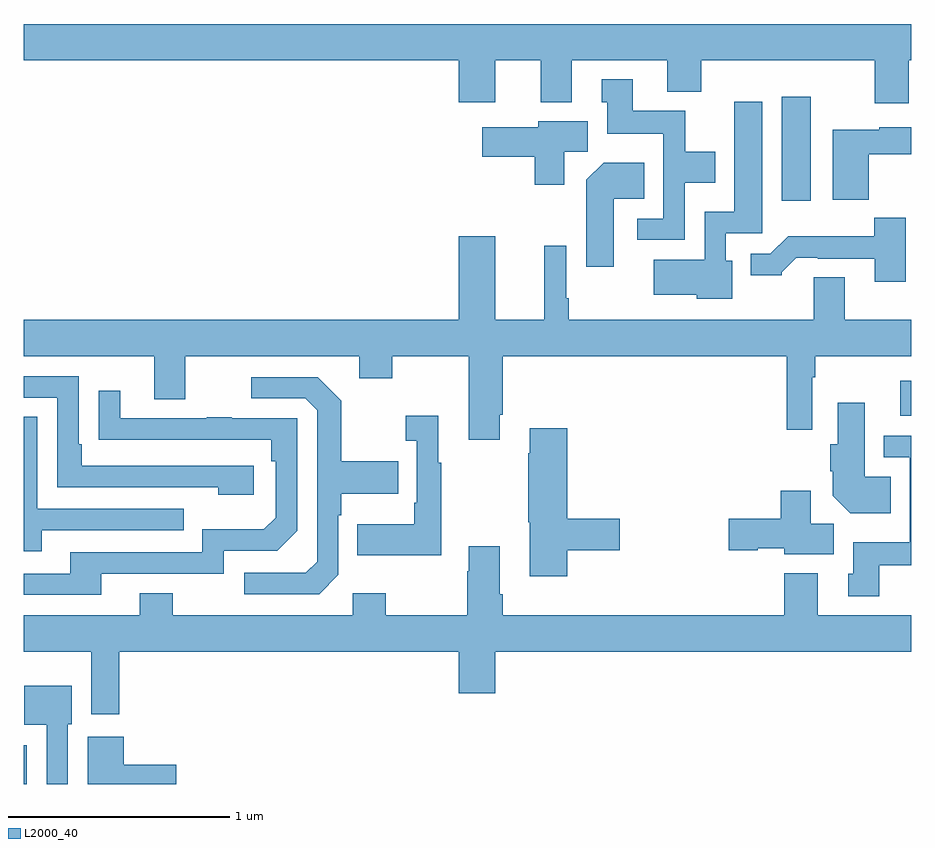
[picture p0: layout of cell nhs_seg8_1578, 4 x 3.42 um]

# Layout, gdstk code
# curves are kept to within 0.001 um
import gdstk
lib = gdstk.Library(unit=1e-6, precision=1e-09)
def R(c, l, rs):  # rectangles x0, y0, x1, y1
    for r in rs: c.add(gdstk.rectangle(r[:2], r[2:], *l))
def P(c, l, *ps):  # polygons
    for p in ps: c.add(gdstk.Polygon(p, *l))
L2000_40 = (2000, 40)

nhs_seg8_1578 = lib.new_cell('nhs_seg8_1578')
R(nhs_seg8_1578, L2000_40, [(211,1119.9,211.015,1120.075), (214.95,1121.558,215,1121.716), (214.415,1122.528,214.546,1122.997)])
P(nhs_seg8_1578, L2000_40, [(214.988,1123.16),(215,1123.16),(215,1123.324),(211,1123.324),(211,1123.16),(212.96,1123.16),(212.96,1122.972),(213.124,1122.972),(213.124,1123.16),(213.329,1123.16),(213.329,1122.971),(213.469,1122.971),(213.469,1123.16),(213.899,1123.16),(213.899,1123.019),(214.052,1123.019),(214.052,1123.16),(214.835,1123.16),(214.835,1122.966),(214.988,1122.966)],
  [(213.978,1122.608),(214.117,1122.608),(214.117,1122.748),(213.981,1122.748),(213.981,1122.934),(213.745,1122.934),(213.745,1123.075),(213.605,1123.075),(213.605,1122.972),(213.629,1122.972),(213.629,1122.83),(213.882,1122.83),(213.882,1122.447),(213.765,1122.447),(213.765,1122.351),(213.978,1122.351)],
  [(214.192,1122.258),(214.164,1122.258),(214.164,1122.381),(214.327,1122.381),(214.327,1122.973),(214.202,1122.973),(214.202,1122.478),(214.068,1122.478),(214.068,1122.262),(213.84,1122.262),(213.84,1122.104),(214.032,1122.104),(214.032,1122.086),(214.192,1122.086)],
  [(213.436,1122.748),(213.541,1122.748),(213.541,1122.886),(213.318,1122.886),(213.318,1122.859),(213.066,1122.859),(213.066,1122.725),(213.302,1122.725),(213.302,1122.6),(213.436,1122.6)],
  [(214.808,1122.737),(215,1122.737),(215,1122.859),(214.854,1122.859),(214.854,1122.847),(214.646,1122.847),(214.646,1122.533),(214.808,1122.533)],
  [(213.658,1122.536),(213.797,1122.536),(213.797,1122.7),(213.614,1122.7),(213.536,1122.622),(213.536,1122.231),(213.658,1122.231)],
  [(214.975,1122.451),(214.833,1122.451),(214.833,1122.367),(214.444,1122.367),(214.365,1122.288),(214.277,1122.288),(214.277,1122.191),(214.416,1122.191),(214.416,1122.206),(214.48,1122.27),(214.579,1122.27),(214.579,1122.267),(214.835,1122.267),(214.835,1122.162),(214.975,1122.162)],
  [(213.145,1121.563),(213.158,1121.563),(213.158,1121.828),(214.438,1121.828),(214.438,1121.496),(214.554,1121.496),(214.554,1121.732),(214.567,1121.732),(214.567,1121.828),(215,1121.828),(215,1121.992),(214.699,1121.992),(214.699,1122.182),(214.559,1122.182),(214.559,1121.992),(213.457,1121.992),(213.457,1122.088),(213.444,1122.088),(213.444,1122.325),(213.346,1122.325),(213.346,1121.992),(213.124,1121.992),(213.124,1122.367),(212.96,1122.367),(212.96,1121.992),(211,1121.992),(211,1121.828),(211.589,1121.828),(211.589,1121.634),(211.729,1121.634),(211.729,1121.828),(212.513,1121.828),(212.513,1121.729),(212.661,1121.729),(212.661,1121.828),(213.005,1121.828),(213.005,1121.451),(213.145,1121.451)],
  [(212.038,1121.334),(211.261,1121.334),(211.261,1121.431),(211.248,1121.431),(211.248,1121.736),(211,1121.736),(211,1121.64),(211.152,1121.64),(211.152,1121.238),(211.877,1121.238),(211.877,1121.204),(212.038,1121.204)],
  [(212.418,1120.842),(212.418,1121.111),(212.431,1121.111),(212.431,1121.207),(212.687,1121.207),(212.687,1121.355),(212.431,1121.355),(212.431,1121.627),(212.325,1121.733),(212.025,1121.733),(212.025,1121.637),(212.268,1121.637),(212.322,1121.583),(212.322,1120.902),(212.271,1120.851),(211.995,1120.851),(211.995,1120.755),(212.331,1120.755)],
  [(211.351,1120.848),(211.902,1120.848),(211.902,1120.95),(212.142,1120.95),(212.232,1121.04),(212.232,1121.547),(211.937,1121.547),(211.937,1121.552),(211.825,1121.552),(211.825,1121.547),(211.435,1121.547),(211.435,1121.671),(211.339,1121.671),(211.339,1121.452),(212.116,1121.451),(212.116,1121.354),(212.136,1121.354),(212.136,1121.1),(212.083,1121.047),(211.806,1121.047),(211.806,1120.944),(211.211,1120.944),(211.211,1120.848),(211,1120.848),(211,1120.752),(211.351,1120.752)],
  [(214.907,1121.284),(214.789,1121.284),(214.789,1121.617),(214.667,1121.617),(214.667,1121.43),(214.634,1121.43),(214.634,1121.308),(214.646,1121.308),(214.646,1121.198),(214.724,1121.12),(214.907,1121.12)],
  [(212.881,1121.347),(212.869,1121.347),(212.869,1121.56),(212.721,1121.56),(212.721,1121.447),(212.772,1121.447),(212.772,1121.167),(212.76,1121.167),(212.76,1121.071),(212.503,1121.071),(212.503,1120.931),(212.881,1120.931)],
  [(211.081,1121.043),(211.721,1121.043),(211.721,1121.139),(211.062,1121.139),(211.062,1121.555),(211,1121.555),(211,1120.949),(211.081,1120.949)],
  [(213.449,1120.954),(213.685,1120.954),(213.685,1121.096),(213.449,1121.096),(213.449,1121.503),(213.281,1121.503),(213.281,1121.39),(213.274,1121.39),(213.274,1121.079),(213.281,1121.079),(213.281,1120.836),(213.449,1120.836)],
  [(214.855,1120.886),(215,1120.886),(215,1121.469),(214.875,1121.469),(214.875,1121.373),(214.992,1121.373),(214.992,1120.99),(214.739,1120.99),(214.739,1120.848),(214.715,1120.848),(214.715,1120.746),(214.855,1120.746)],
  [(214.651,1121.072),(214.546,1121.072),(214.546,1121.221),(214.412,1121.221),(214.412,1121.096),(214.176,1121.096),(214.176,1120.954),(214.308,1120.954),(214.308,1120.961),(214.428,1120.961),(214.428,1120.934),(214.651,1120.934)],
  [(211.43,1120.496),(212.96,1120.496),(212.96,1120.308),(213.124,1120.308),(213.124,1120.496),(215,1120.496),(215,1120.66),(214.579,1120.66),(214.579,1120.849),(214.427,1120.849),(214.427,1120.66),(213.158,1120.66),(213.158,1120.756),(213.145,1120.756),(213.145,1120.972),(213.005,1120.972),(213.005,1120.859),(212.998,1120.859),(212.998,1120.66),(212.631,1120.66),(212.631,1120.759),(212.484,1120.759),(212.484,1120.66),(211.671,1120.66),(211.671,1120.759),(211.523,1120.759),(211.523,1120.66),(211,1120.66),(211,1120.496),(211.304,1120.496),(211.304,1120.215),(211.43,1120.215)],
  [(211.2,1120.17),(211.216,1120.17),(211.216,1120.342),(211.004,1120.342),(211.004,1120.166),(211.104,1120.166),(211.104,1119.9),(211.2,1119.9)],
  [(211.687,1119.986),(211.451,1119.986),(211.451,1120.114),(211.289,1120.114),(211.289,1119.9),(211.687,1119.9)])

lib.write_gds('nhs_seg8_1578.gds')
